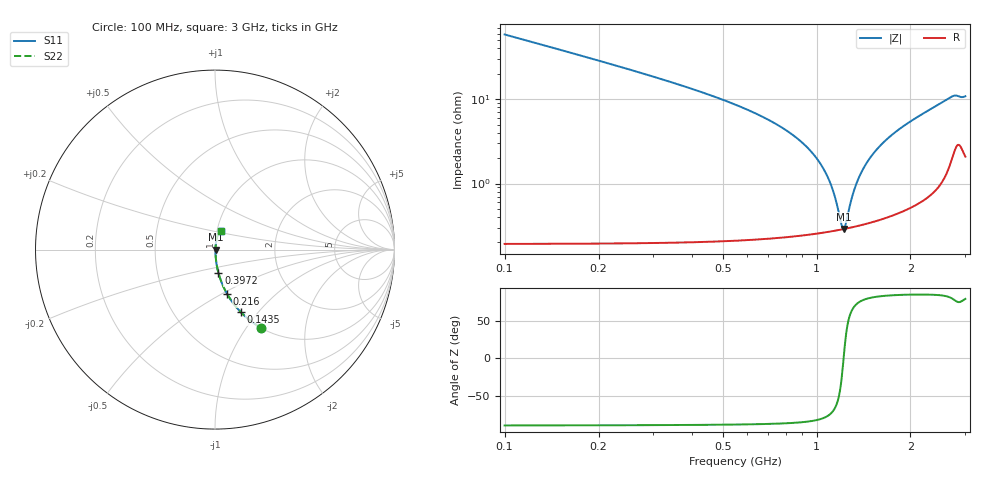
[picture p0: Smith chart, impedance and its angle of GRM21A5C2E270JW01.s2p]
!Murata Part Number: GRM21A5C2E270JW01
!These Parameters are Measured in Series Mode Connection
!Data Generated on Mar 30, 2021
!  o--ll--o
!Port1  Port2
!  o------o
!Operation Temp=25[degC], DC Bias Voltage=0[V]
!Freq. Start=100[MHz] Stop=3[GHz] 401[Steps]
# Hz S RI R 50
!Freq.(Hz) S11(Real) S11(Imag) S21(Real) S21(Imag) S12(Real) S12(Imag) S22(Real) S22(Imag)
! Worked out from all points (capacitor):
!   401 points, 100 MHz to 3 GHz, reference 50 ohm
!   read as one part in series: C = 27 pF near 114.5 MHz
!   lowest |Z| = 289 mohm at 1.224 GHz (marker M1)
!   series resonance near 1.221 GHz, so ESL is about 630 pH
!   S11 on the Smith chart (normalised r, x): 100 MHz: 1.00, -1.17; 143.5 MHz: 1.00, -0.81; 216 MHz: 1.00, -0.53; 397.2 MHz: 1.00, -0.27; 3 GHz: 1.04, +0.21
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1e8  0.2561 -0.4348  0.7439 0.4348  0.7439 0.4348  0.2561 -0.4348
1.435e8  0.1423 -0.3469  0.8577 0.3469  0.8577 0.3469  0.1423 -0.3469
2.16e8  0.067 -0.2464  0.933 0.2464  0.933 0.2464  0.067 -0.2464
3.9725e8  0.0193 -0.1303  0.9807 0.1303  0.9807 0.1303  0.0193 -0.1303
5.8575e8  0.00812 -0.0772  0.9919 0.0772  0.9919 0.0772  0.00812 -0.0772
7.7425e8  0.00438 -0.0458  0.9956 0.0458  0.9956 0.0458  0.00438 -0.0458
8.975e8  0.00334 -0.0305  0.9967 0.0305  0.9967 0.0305  0.00334 -0.0305
9.99e8  0.00293 -0.0198  0.9971 0.0198  0.9971 0.0198  0.00293 -0.0198
1.0715e9  0.0028 -0.0129  0.9972 0.0129  0.9972 0.0129  0.0028 -0.0129
1.13675e9  0.00278 -0.00706  0.9972 0.00706  0.9972 0.00706  0.00278 -0.00706
1.202e9  0.00284 -0.00156  0.9972 0.00156  0.9972 0.00156  0.00284 -0.00156
1.22375e9  0.00288 0.000211  0.9971 -0.000211  0.9971 -0.000211  0.00288 0.000211
1.23825e9  0.0029 0.00138  0.9971 -0.00138  0.9971 -0.00138  0.0029 0.00138
1.3035e9  0.00306 0.00649  0.9969 -0.00649  0.9969 -0.00649  0.00306 0.00649
1.3615e9  0.00325 0.0109  0.9967 -0.0109  0.9967 -0.0109  0.00325 0.0109
1.44125e9  0.00359 0.0167  0.9964 -0.0167  0.9964 -0.0167  0.00359 0.0167
1.55e9  0.00416 0.0242  0.9958 -0.0242  0.9958 -0.0242  0.00416 0.0242
1.753e9  0.00558 0.0377  0.9944 -0.0377  0.9944 -0.0377  0.00558 0.0377
2.03575e9  0.00843 0.0559  0.9916 -0.0559  0.9916 -0.0559  0.00843 0.0559
2.5215e9  0.0181 0.0883  0.9819 -0.0883  0.9819 -0.0883  0.0181 0.0883
2.74625e9  0.0323 0.1015  0.9677 -0.1015  0.9677 -0.1015  0.0323 0.1015
3e9  0.0309 0.101  0.9691 -0.101  0.9691 -0.101  0.0309 0.101
